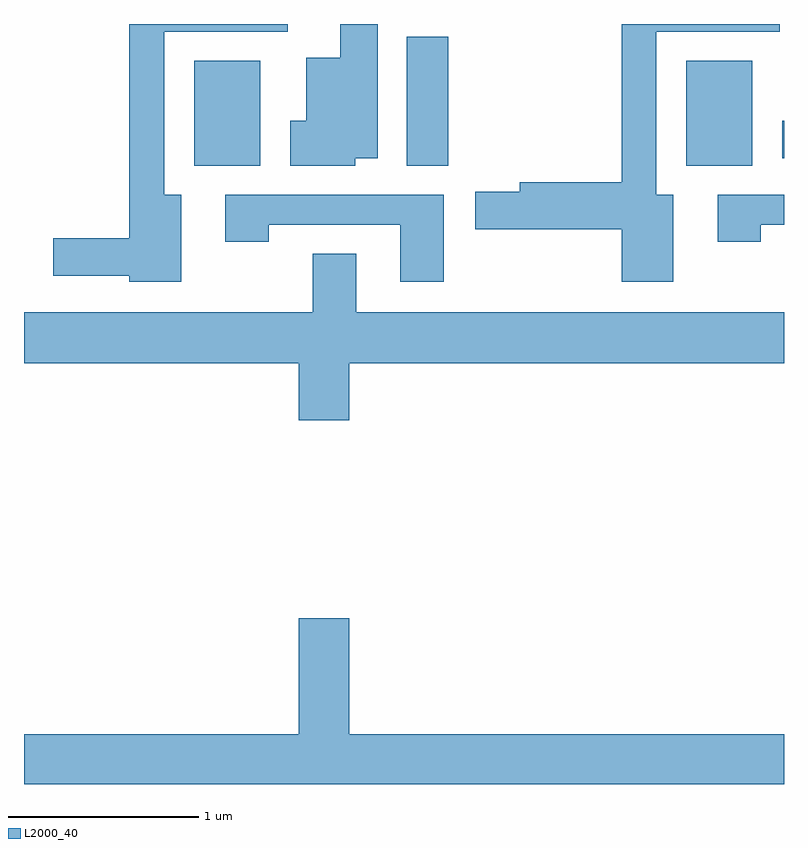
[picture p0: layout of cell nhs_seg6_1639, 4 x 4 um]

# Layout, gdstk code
import gdstk
lib = gdstk.Library(unit=1e-6, precision=1e-09)
def R(c, l, rs):  # rectangles x0, y0, x1, y1
    for r in rs: c.add(gdstk.rectangle(r[:2], r[2:], *l))
def P(c, l, *ps):  # polygons
    for p in ps: c.add(gdstk.Polygon(p, *l))
L2000_40 = (2000, 40)

nhs_seg6_1639 = lib.new_cell('nhs_seg6_1639')
R(nhs_seg6_1639, L2000_40, [(234.506,1655.416,234.854,1655.969), (235.626,1655.416,235.844,1656.094), (237.096,1655.416,237.444,1655.969), (237.601,1655.456,237.611,1655.654)])
P(nhs_seg6_1639, L2000_40, [(234.439,1655.264),(234.349,1655.264),(234.349,1656.121),(234.998,1656.121),(234.998,1656.162),(234.166,1656.162),(234.166,1655.034),(233.766,1655.034),(233.766,1654.836),(234.166,1654.836),(234.166,1654.806),(234.439,1654.806)],
  [(237.029,1655.264),(236.939,1655.264),(236.939,1656.121),(237.588,1656.121),(237.588,1656.162),(236.756,1656.162),(236.756,1655.329),(236.221,1655.329),(236.221,1655.279),(235.986,1655.279),(235.986,1655.081),(236.756,1655.081),(236.756,1654.806),(237.029,1654.806)],
  [(235.354,1655.456),(235.474,1655.456),(235.474,1656.162),(235.276,1656.162),(235.276,1655.984),(235.096,1655.984),(235.096,1655.654),(235.011,1655.654),(235.011,1655.416),(235.354,1655.416)],
  [(237.489,1655.106),(237.611,1655.106),(237.611,1655.264),(237.261,1655.264),(237.261,1655.016),(237.489,1655.016)],
  [(235.819,1655.264),(234.671,1655.264),(234.671,1655.016),(234.899,1655.016),(234.899,1655.106),(235.591,1655.106),(235.591,1654.806),(235.819,1654.806)],
  [(235.324,1654.376),(237.611,1654.376),(237.611,1654.644),(235.359,1654.644),(235.359,1654.954),(235.131,1654.954),(235.131,1654.644),(233.611,1654.644),(233.611,1654.376),(235.056,1654.376),(235.056,1654.076),(235.324,1654.076)],
  [(237.611,1652.424),(235.324,1652.424),(235.324,1653.034),(235.056,1653.034),(235.056,1652.424),(233.611,1652.424),(233.611,1652.162),(237.611,1652.162)])

lib.write_gds('nhs_seg6_1639.gds')
